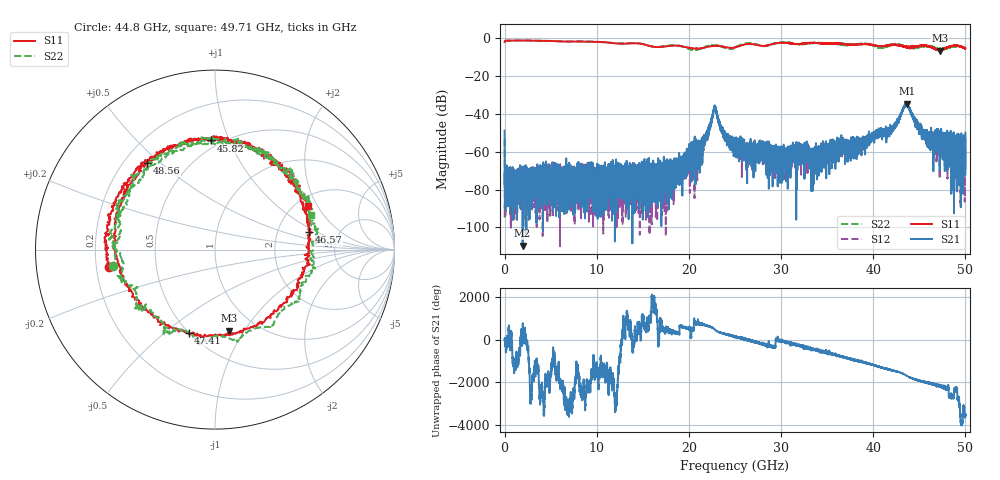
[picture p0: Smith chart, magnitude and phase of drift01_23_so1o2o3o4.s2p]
!Created with skrf (http://scikit-rf.org).
# Hz S RI R 50.0
!freq ReS11 ImS11 ReS21 ImS21 ReS12 ImS12 ReS22 ImS22
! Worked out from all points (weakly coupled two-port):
!   10001 points, 300 kHz to 50 GHz, reference 50 ohm
!   highest |S21| = -34.71 dB at 43.67 GHz (marker M1); lowest = -109.7 dB at 1.955 GHz (marker M2)
!   lowest |S11| = -6.8 dB at 47.21 GHz (marker M3), VSWR 2.70, Z = 37.6 - j43 ohm
!   |S11| at or under -10 dB: nowhere
!   |S22| runs from -6.4 to -1.4 dB; largest |S21 - S12| = 0.0037
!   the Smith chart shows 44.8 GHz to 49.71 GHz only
!   S11 on the Smith chart (normalised r, x): 44.8 GHz: 0.25, -0.08; 45.82 GHz: 0.45, +0.86; 46.57 GHz: 3.03, +0.84; 47.41 GHz: 0.50, -0.61; 48.56 GHz: 0.29, +0.45; 49.71 GHz: 2.29, +1.66
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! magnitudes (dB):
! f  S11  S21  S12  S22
! 300 kHz  -2.1  -48.9  -53.5  -2.1
! 255.3 MHz  -1.4  -79.8  -82.4  -1.4
! 1.955 GHz  -1.4  -109.7  -75.2  -1.4
! 8.335 GHz  -2.0  -72.1  -68.4  -1.8
! 16.67 GHz  -4.8  -69.7  -84.7  -4.8
! 18.04 GHz  -4.2  -74.9  -81.0  -3.9
! 21.23 GHz  -5.6  -59.6  -59.6  -5.7
! 22.8 GHz  -4.3  -35.5  -36.2  -4.0
! 23.78 GHz  -4.7  -48.8  -50.8  -5.0
! 25 GHz  -5.0  -60.8  -56.3  -5.0
! 29.48 GHz  -2.9  -58.0  -62.5  -2.7
! 33.34 GHz  -2.6  -64.4  -63.1  -2.7
! 41.67 GHz  -3.9  -48.3  -49.4  -4.2
! 43.67 GHz  -4.7  -34.7  -35.4  -5.1
! 44.8 GHz  -4.5  -45.7  -45.6  -4.8
! 45.82 GHz  -4.3  -49.9  -53.0  -4.4
! 46.57 GHz  -5.4  -53.3  -50.6  -4.8
! 47.21 GHz  -6.8  -63.2  -52.4  -5.8
! 47.41 GHz  -6.2  -60.1  -58.6  -5.5
! 48.56 GHz  -4.3  -53.9  -55.9  -4.6
! 49.71 GHz  -4.9  -63.9  -66.5  -4.9
! 50 GHz  -5.6  -50.0  -70.0  -5.4
